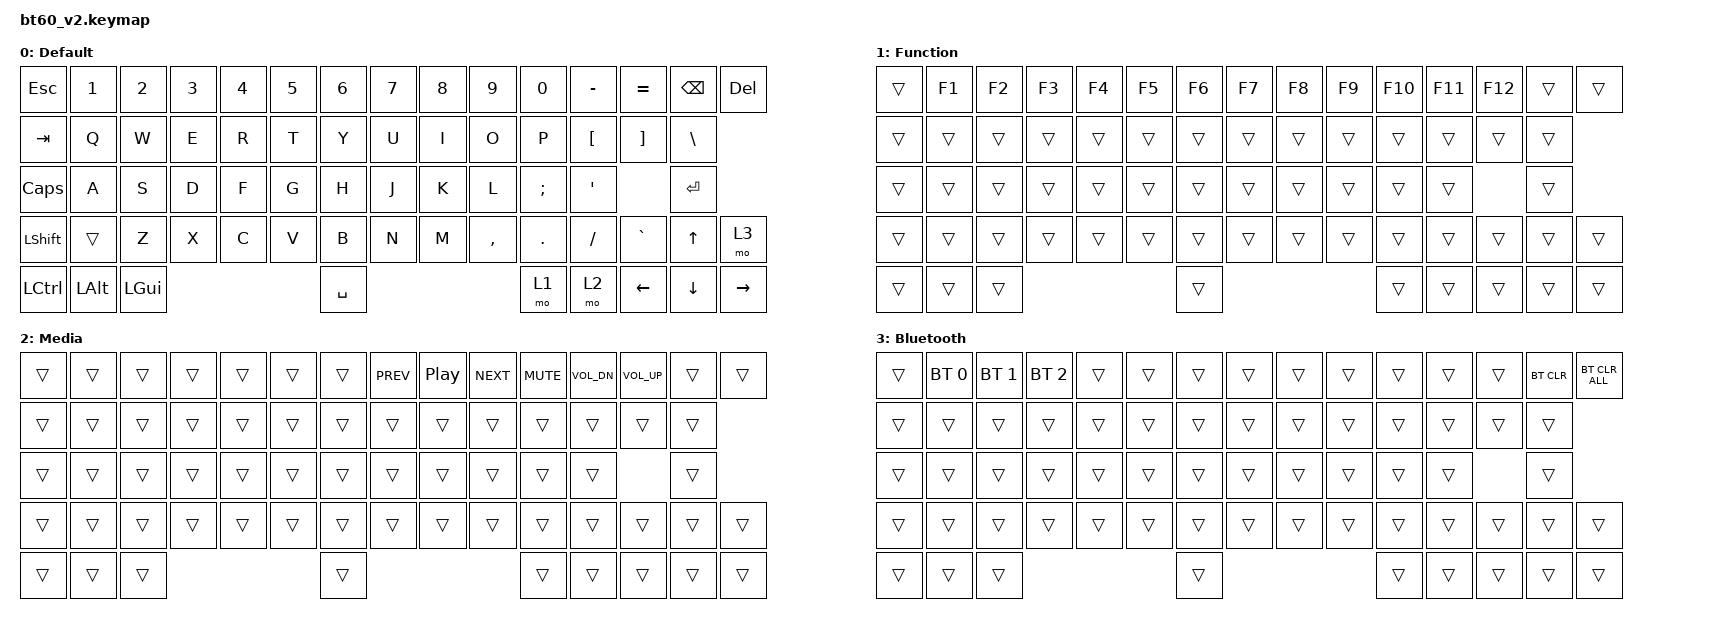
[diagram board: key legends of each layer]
#include <behaviors.dtsi>
#include <dt-bindings/zmk/bt.h>
#include <dt-bindings/zmk/keys.h>

&soft_off { hold-time-ms = <1000>; };

/ {
    chosen { zmk,matrix-transform = &all_1u_transform; };

    combos {
        compatible = "zmk,combos";

        bootloader_combo {
            bindings = <&bootloader>;
            key-positions = <57 58 56 59>;
            timeout-ms = <1000>;
            layers = <3>;
        };

        soft_off_combo {
            bindings = <&soft_off>;
            key-positions = <56 0>;
            timeout-ms = <1000>;
            layers = <3>;
        };

        sys_reset_combo {
            bindings = <&sys_reset>;
            key-positions = <56 14>;
            timeout-ms = <1000>;
            layers = <3>;
        };
    };

    keymap {
        compatible = "zmk,keymap";

        Default {
            bindings = <
&kp ESC    &kp N1    &kp N2    &kp N3  &kp N4  &kp N5  &kp N6     &kp N7  &kp N8  &kp N9     &kp N0    &kp MINUS  &kp EQUAL  &kp BSPC  &kp DEL
&kp TAB    &kp Q     &kp W     &kp E   &kp R   &kp T   &kp Y      &kp U   &kp I   &kp O      &kp P     &kp LBKT   &kp RBKT   &kp BSLH
&kp CAPS   &kp A     &kp S     &kp D   &kp F   &kp G   &kp H      &kp J   &kp K   &kp L      &kp SEMI  &kp SQT               &kp RET
&kp LSHFT  &trans    &kp Z     &kp X   &kp C   &kp V   &kp B      &kp N   &kp M   &kp COMMA  &kp DOT   &kp FSLH   &kp GRAVE  &kp UP    &mo 3
&kp LCTRL  &kp LALT  &kp LGUI                          &kp SPACE                             &mo 1     &mo 2      &kp LEFT   &kp DOWN  &kp RIGHT
            >;
        };

        Function {
            bindings = <
&trans  &kp F1  &kp F2  &kp F3  &kp F4  &kp F5  &kp F6  &kp F7  &kp F8  &kp F9  &kp F10  &kp F11  &kp F12  &trans  &trans
&trans  &trans  &trans  &trans  &trans  &trans  &trans  &trans  &trans  &trans  &trans   &trans   &trans   &trans
&trans  &trans  &trans  &trans  &trans  &trans  &trans  &trans  &trans  &trans  &trans   &trans            &trans
&trans  &trans  &trans  &trans  &trans  &trans  &trans  &trans  &trans  &trans  &trans   &trans   &trans   &trans  &trans
&trans  &trans  &trans                          &trans                          &trans   &trans   &trans   &trans  &trans
            >;
        };

        Media {
            bindings = <
&trans  &trans  &trans  &trans  &trans  &trans  &trans  &kp C_PREV  &kp C_PP  &kp C_NEXT  &kp C_MUTE  &kp C_VOL_DN  &kp C_VOL_UP  &trans  &trans
&trans  &trans  &trans  &trans  &trans  &trans  &trans  &trans      &trans    &trans      &trans      &trans        &trans        &trans
&trans  &trans  &trans  &trans  &trans  &trans  &trans  &trans      &trans    &trans      &trans      &trans                      &trans
&trans  &trans  &trans  &trans  &trans  &trans  &trans  &trans      &trans    &trans      &trans      &trans        &trans        &trans  &trans
&trans  &trans  &trans                          &trans                                    &trans      &trans        &trans        &trans  &trans
            >;
        };

        Bluetooth {
            bindings = <
&trans  &bt BT_SEL 0  &bt BT_SEL 1  &bt BT_SEL 2  &trans  &trans  &trans  &trans  &trans  &trans  &trans  &trans  &trans  &bt BT_CLR  &bt BT_CLR_ALL
&trans  &trans        &trans        &trans        &trans  &trans  &trans  &trans  &trans  &trans  &trans  &trans  &trans  &trans
&trans  &trans        &trans        &trans        &trans  &trans  &trans  &trans  &trans  &trans  &trans  &trans          &trans
&trans  &trans        &trans        &trans        &trans  &trans  &trans  &trans  &trans  &trans  &trans  &trans  &trans  &trans      &trans
&trans  &trans        &trans                                      &trans                          &trans  &trans  &trans  &trans      &trans
            >;
        };
    };
};
